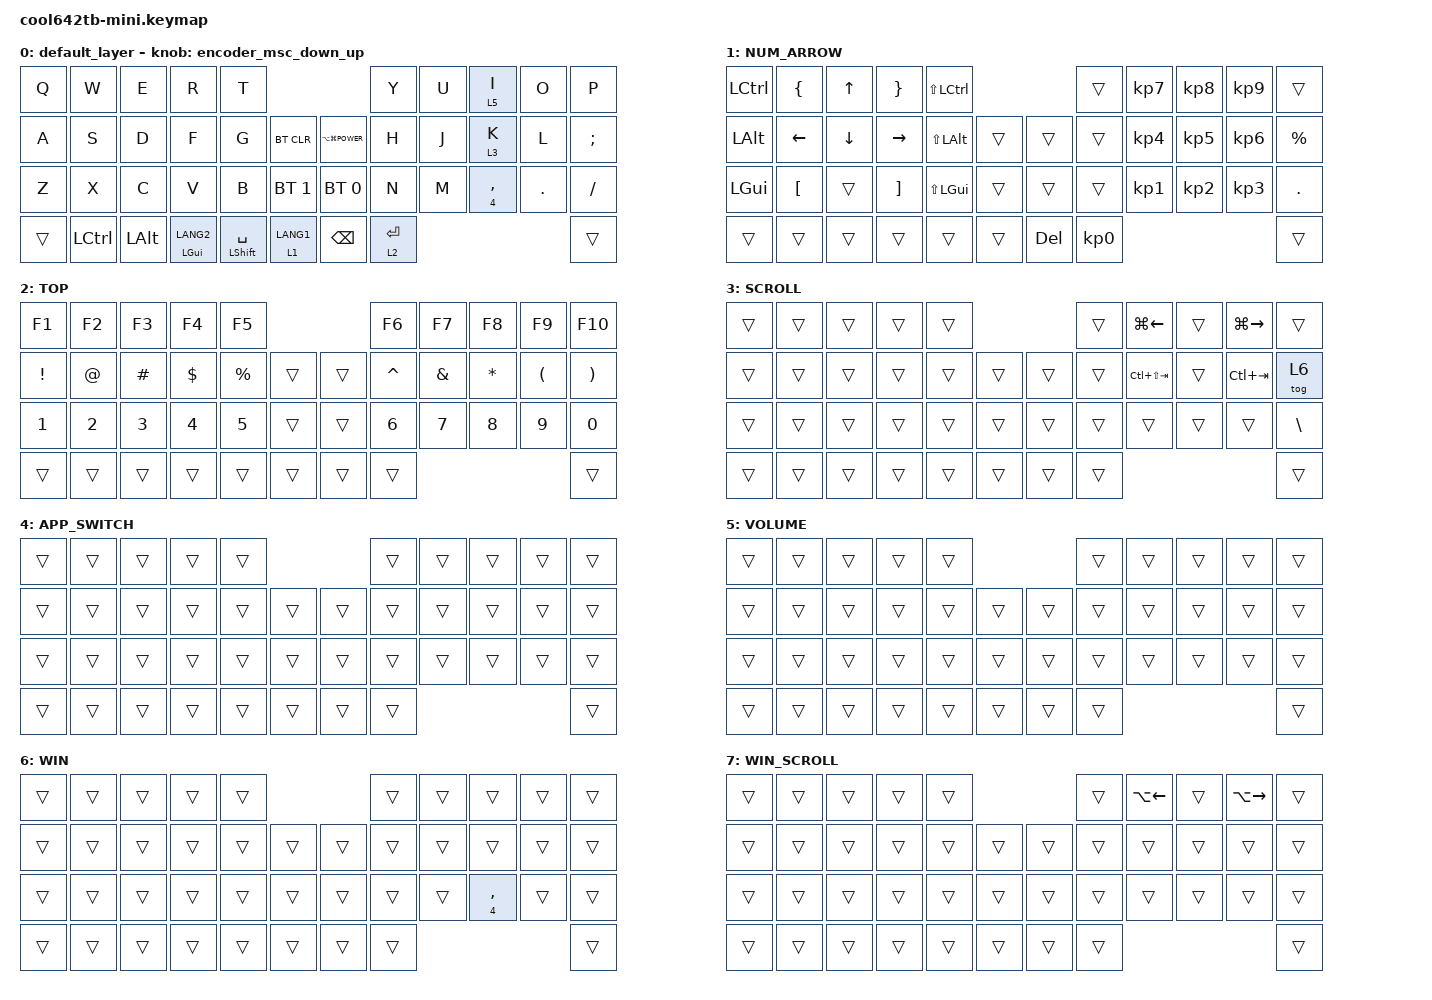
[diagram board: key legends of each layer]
#include <behaviors.dtsi>
#include <dt-bindings/zmk/bt.h>
#include <dt-bindings/zmk/keys.h>
#include <dt-bindings/zmk/pointing.h>

#define ZMK_POINTING_DEFAULT_SCRL_VAL 80

/*
 * Layers
 *  0 default_layer
 *  1 NUM_ARROW     LANG1 hold
 *  2 TOP           ENTER hold
 *  3 SCROLL        K hold        (trackball = scroll)
 *  4 APP_SWITCH    , hold        (trackball = cmd/alt + tab)
 *  5 VOLUME        I hold        (trackball = volume)
 *  6 WIN           toggled from SCROLL + ;
 *  7 WIN_SCROLL    auto (3 + 6)
 */

&mt {
    flavor = "balanced";
    tapping-term-ms = <300>;
    quick-tap-ms = <175>;
};

/ {
    combos {
        compatible = "zmk,combos";

        Left_Click {
            bindings = <&mkp MB1>;
            key-positions = <18 19>;
        };

        Right_Click {
            bindings = <&mkp MB2>;
            key-positions = <19 20>;
        };

        Middle_Click {
            bindings = <&mkp MB3>;
            key-positions = <18 20>;
        };

        Tab {
            bindings = <&kp TAB>;
            key-positions = <12 13>;
        };

        Escape {
            bindings = <&kp ESCAPE>;
            key-positions = <11 12>;
        };

        Minus {
            bindings = <&kp MINUS>;
            key-positions = <30 31>;
        };

        Plus {
            bindings = <&kp PLUS>;
            key-positions = <31 32>;
        };

        Tilde {
            bindings = <&kp TILDE>;
            key-positions = <30 31>;
            layers = <1>;
        };

        Equal {
            bindings = <&kp EQUAL>;
            key-positions = <31 32>;
            layers = <1>;
        };

        Apostrophe {
            bindings = <&kp SQT>;
            key-positions = <20 21>;
        };

        Grave_Accent {
            bindings = <&kp GRAVE>;
            key-positions = <20 21>;
            layers = <1>;
        };
    };

    conditional_layers {
        compatible = "zmk,conditional-layers";

        win_scroll {
            if-layers = <3 6>;
            then-layer = <7>;
        };
    };

    behaviors {
        encoder_msc_down_up: encoder_msc_down_up {
            compatible = "zmk,behavior-sensor-rotate";
            label = "ENCODER_MSC_DOWN_UP";
            #sensor-binding-cells = <0>;
            bindings = <&msc SCRL_UP>, <&msc SCRL_DOWN>;

            tap-ms = <20>;
        };

        app_mac: app_mac {
            compatible = "zmk,behavior-macro-one-param";
            #binding-cells = <1>;
            wait-ms = <0>;
            tap-ms = <0>;
            bindings =
                <&macro_param_1to1>,
                <&macro_press>,
                <&mo MACRO_PLACEHOLDER>,
                <&macro_press>,
                <&kp LEFT_GUI>,
                <&macro_pause_for_release>,
                <&macro_release>,
                <&kp LEFT_GUI &macro_param_1to1>,
                <&macro_release>,
                <&mo MACRO_PLACEHOLDER>;
        };

        app_win: app_win {
            compatible = "zmk,behavior-macro-one-param";
            #binding-cells = <1>;
            wait-ms = <0>;
            tap-ms = <0>;
            bindings =
                <&macro_param_1to1>,
                <&macro_press>,
                <&mo MACRO_PLACEHOLDER>,
                <&macro_press>,
                <&kp LEFT_ALT>,
                <&macro_pause_for_release>,
                <&macro_release>,
                <&kp LEFT_ALT &macro_param_1to1>,
                <&macro_release>,
                <&mo MACRO_PLACEHOLDER>;
        };

        app_ht_mac: app_ht_mac {
            compatible = "zmk,behavior-hold-tap";
            #binding-cells = <2>;
            flavor = "tap-preferred";
            tapping-term-ms = <200>;
            bindings = <&app_mac>, <&kp>;
        };

        app_ht_win: app_ht_win {
            compatible = "zmk,behavior-hold-tap";
            #binding-cells = <2>;
            flavor = "tap-preferred";
            tapping-term-ms = <200>;
            bindings = <&app_win>, <&kp>;
        };
    };

    macros {
    };

    keymap {
        compatible = "zmk,keymap";

        default_layer {
            bindings = <
&kp Q   &kp W      &kp E         &kp R               &kp T                                                        &kp Y        &kp U  &lt 5 I              &kp O    &kp P
&kp A   &kp S      &kp D         &kp F               &kp G                 &bt BT_CLR        &kp LA(LG(C_POWER))  &kp H        &kp J  &lt 3 K              &kp L    &kp SEMICOLON
&kp Z   &kp X      &kp C         &kp V               &kp B                 &bt BT_SEL 1      &bt BT_SEL 0         &kp N        &kp M  &app_ht_mac 4 COMMA  &kp DOT  &kp SLASH
&trans  &kp LCTRL  &kp LEFT_ALT  &mt LEFT_GUI LANG2  &mt LEFT_SHIFT SPACE  &lt 1 LANG1       &kp BACKSPACE        &lt 2 ENTER                                       &trans
            >;

            sensor-bindings = <&encoder_msc_down_up>;
        };

        NUM_ARROW {
            bindings = <
&kp LCTRL     &kp LEFT_BRACE    &kp UP_ARROW    &kp RBRC           &kp LS(LCTRL)                             &trans           &kp KP_NUMBER_7  &kp KP_NUMBER_8  &kp KP_NUMBER_9  &trans
&kp LEFT_ALT  &kp LEFT_ARROW    &kp DOWN_ARROW  &kp RIGHT_ARROW    &kp LS(LEFT_ALT)  &trans      &trans      &trans           &kp KP_NUMBER_4  &kp KP_NUMBER_5  &kp KP_NUMBER_6  &kp PERCENT
&kp LEFT_GUI  &kp LEFT_BRACKET  &trans          &kp RIGHT_BRACKET  &kp LS(LEFT_GUI)  &trans      &trans      &trans           &kp KP_NUMBER_1  &kp KP_NUMBER_2  &kp KP_NUMBER_3  &kp PERIOD
&trans        &trans            &trans          &trans             &trans            &trans      &kp DELETE  &kp KP_NUMBER_0                                                     &trans
            >;
        };

        TOP {
            bindings = <
&kp F1           &kp F2        &kp F3        &kp F4        &kp F5                           &kp F6        &kp F7         &kp F8        &kp F9                &kp F10
&kp EXCLAMATION  &kp AT_SIGN   &kp HASH      &kp DOLLAR    &kp PERCENT  &trans      &trans  &kp CARET     &kp AMPERSAND  &kp ASTERISK  &kp LEFT_PARENTHESIS  &kp RIGHT_PARENTHESIS
&kp NUMBER_1     &kp NUMBER_2  &kp NUMBER_3  &kp NUMBER_4  &kp N5       &trans      &trans  &kp NUMBER_6  &kp N7         &kp N8        &kp N9                &kp N0
&trans           &trans        &trans        &trans        &trans       &trans      &trans  &trans                                                           &trans
            >;
        };

        SCROLL {
            bindings = <
&trans  &trans  &trans  &trans  &trans                      &trans  &kp LG(LEFT_ARROW)  &trans  &kp LG(RIGHT_ARROW)  &trans
&trans  &trans  &trans  &trans  &trans  &trans      &trans  &trans  &kp LC(LS(TAB))     &trans  &kp LC(TAB)          &tog 6
&trans  &trans  &trans  &trans  &trans  &trans      &trans  &trans  &trans              &trans  &trans               &kp BACKSLASH
&trans  &trans  &trans  &trans  &trans  &trans      &trans  &trans                                                   &trans
            >;
        };

        APP_SWITCH {
            bindings = <
&trans  &trans  &trans  &trans  &trans                      &trans  &trans  &trans  &trans  &trans
&trans  &trans  &trans  &trans  &trans  &trans      &trans  &trans  &trans  &trans  &trans  &trans
&trans  &trans  &trans  &trans  &trans  &trans      &trans  &trans  &trans  &trans  &trans  &trans
&trans  &trans  &trans  &trans  &trans  &trans      &trans  &trans                          &trans
            >;
        };

        VOLUME {
            bindings = <
&trans  &trans  &trans  &trans  &trans                      &trans  &trans  &trans  &trans  &trans
&trans  &trans  &trans  &trans  &trans  &trans      &trans  &trans  &trans  &trans  &trans  &trans
&trans  &trans  &trans  &trans  &trans  &trans      &trans  &trans  &trans  &trans  &trans  &trans
&trans  &trans  &trans  &trans  &trans  &trans      &trans  &trans                          &trans
            >;
        };

        WIN {
            bindings = <
&trans  &trans  &trans  &trans  &trans                      &trans  &trans  &trans               &trans  &trans
&trans  &trans  &trans  &trans  &trans  &trans      &trans  &trans  &trans  &trans               &trans  &trans
&trans  &trans  &trans  &trans  &trans  &trans      &trans  &trans  &trans  &app_ht_win 4 COMMA  &trans  &trans
&trans  &trans  &trans  &trans  &trans  &trans      &trans  &trans                                       &trans
            >;
        };

        WIN_SCROLL {
            bindings = <
&trans  &trans  &trans  &trans  &trans                      &trans  &kp LA(LEFT_ARROW)  &trans  &kp LA(RIGHT_ARROW)  &trans
&trans  &trans  &trans  &trans  &trans  &trans      &trans  &trans  &trans              &trans  &trans               &trans
&trans  &trans  &trans  &trans  &trans  &trans      &trans  &trans  &trans              &trans  &trans               &trans
&trans  &trans  &trans  &trans  &trans  &trans      &trans  &trans                                                   &trans
            >;
        };
    };
};
